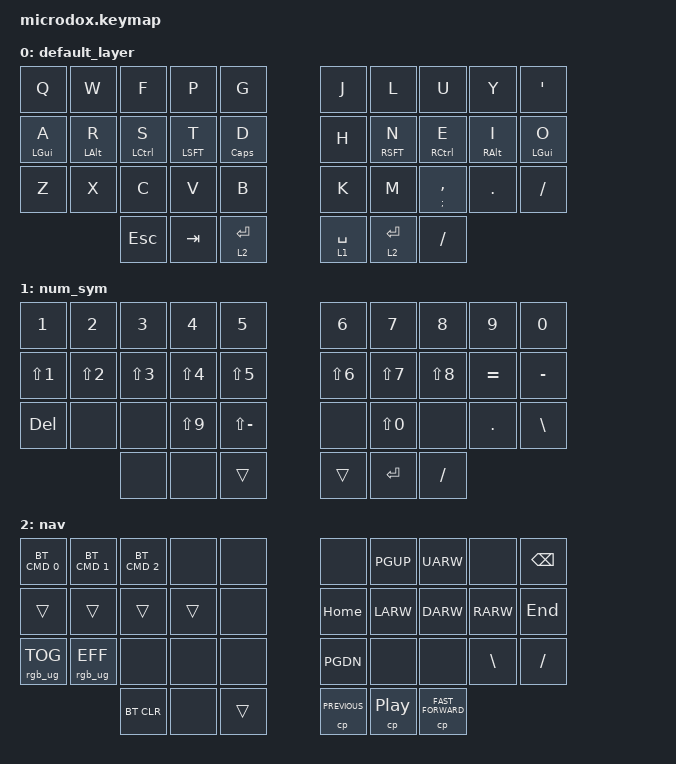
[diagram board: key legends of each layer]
/*
 * Copyright (c) 2020 The ZMK Contributors
 *
 * SPDX-License-Identifier: MIT
 */

#include <behaviors.dtsi>
#include <dt-bindings/zmk/keys.h>
#include <dt-bindings/zmk/bt.h>
#include <dt-bindings/zmk/rgb.h>

#define DEFAULT 0
#define NUM_SYM 1
#define NAV     2

/ {
	behaviors {
		rst: behavior_tap_hold1 {
			compatible = "zmk,behavior-hold-tap";
			label = "Bootloader Tap - Reset Hold";
			#binding-cells = <2>;
			tapping_term_ms = <200>;
            flavor = "balanced";
			bindings = <&reset>, <&bootloader>;
        };

        bh: layer_taps {
			compatible = "zmk,behavior-hold-tap";
			label = "Layer-Tap";
			#binding-cells = <2>;
			tapping_term_ms = <215>;
            flavor = "tap-preferred";
			bindings = <&mo>, <&kp>;
        };

        hm: homerow_mods {
			compatible = "zmk,behavior-hold-tap";
			label = "homerow mods";
			#binding-cells = <2>;
			tapping_term_ms = <230>;
            flavor = "balanced";
			bindings = <&kp>, <&kp>;
        };
        
        hm1: homerow_mods1 {
			compatible = "zmk,behavior-hold-tap";
			label = "homerow mods";
			#binding-cells = <2>;
			tapping_term_ms = <210>;
            flavor = "balanced";
			bindings = <&kp>, <&kp>;
        };

        hm2: homerow_mods2 {
			compatible = "zmk,behavior-hold-tap";
			label = "homerow mods 2";
			#binding-cells = <2>;
			tapping_term_ms = <230>;
            flavor = "tap-preferred";
			bindings = <&kp>, <&kp>;
        };

        com_col: behavior_tap_hold10 {
		 	compatible = "zmk,behavior-hold-tap";
	     	label = "Tap comma_hold colon";
			#binding-cells = <2>;
			tapping_term_ms = <150>;
            flavor = "balanced";
		 	bindings = <&kp>, <&kp>;
	     	};
    	 };
    };

/ {
    keymap {
        compatible = "zmk,keymap";

        default_layer {
            bindings = <
    &kp Q &kp W &kp F &kp P &kp G &kp J &kp L &kp U &kp Y &kp QUOT    
    &hm2 LGUI A &hm LALT R &hm LCTL S &hm1 LSFT T &hm2 CLCK D &kp H &hm1 RSFT N &hm RCTL E &hm RALT I &hm2 LGUI O
    &kp Z &kp X &kp C &kp V &kp B &kp K &kp M &com_col SCLN CMMA &kp DOT &kp FSLH
    &kp ESC &kp TAB &bh 2 RET &bh 1 SPC &bh 2 RET &kp FSLH
            >;
        };

        num_sym {
            bindings = <
    &kp NUM_1 &kp NUM_2 &kp NUM_3 &kp NUM_4 &kp NUM_5 &kp NUM_6 &kp NUM_7 &kp NUM_8 &kp NUM_9 &kp NUM_0    
    &kp LS(N1) &kp LS(N2) &kp LS(N3) &kp LS(N4) &kp LS(N5) &kp LS(N6) &kp LS(N7) &kp LS(N8) &kp EQL &kp MINUS       
    &kp DEL &none &none &kp LS(N9) &kp LS(MINUS) &none &kp LS(N0) &none &kp DOT &kp BSLH
    &none &none &trans &trans &kp RET &kp FSLH
            >;
        };

    nav {
            bindings = <
    &bt BT_SEL_CMD 0 &bt BT_SEL_CMD 1 &bt BT_SEL_CMD 2 &none &none &none &kp PGUP &kp UARW &none &kp BKSP    
    &trans &trans &trans &trans &none &kp HOME &kp LARW &kp DARW &kp RARW &kp END       
    &rgb_ug RGB_TOG &rgb_ug RGB_EFF &none &none &none &kp PGDN &none &none &kp BSLH &kp FSLH
    &bt BT_CLR &none &trans &cp C_PREVIOUS &cp C_PLAY_PAUSE &cp C_FAST_FORWARD
            >;
        };
    };
};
